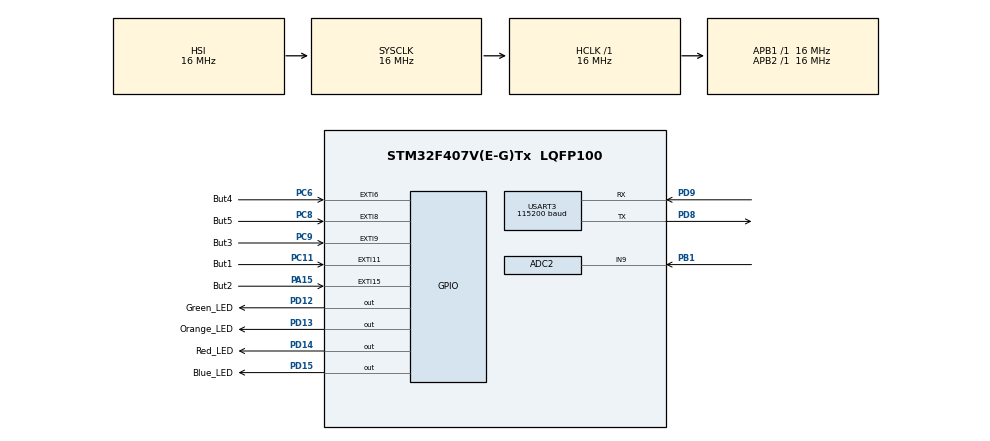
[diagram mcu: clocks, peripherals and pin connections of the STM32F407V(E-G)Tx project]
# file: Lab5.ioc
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ADC2.Channel-0\#ChannelRegularConversion=ADC_CHANNEL_9
ADC2.ContinuousConvMode=ENABLE
ADC2.EOCSelection=ADC_EOC_SEQ_CONV
ADC2.NbrOfConversionFlag=1
ADC2.Rank-0\#ChannelRegularConversion=1
ADC2.SamplingTime-0\#ChannelRegularConversion=ADC_SAMPLETIME_480CYCLES
Mcu.Family=STM32F4
Mcu.Name=STM32F407V(E-G)Tx
Mcu.Package=LQFP100
NVIC.EXTI15_10_IRQn=true\:0\:0\:false\:false\:true\:true\:true
NVIC.EXTI9_5_IRQn=true\:0\:0\:false\:false\:true\:true\:true
NVIC.PriorityGroup=NVIC_PRIORITYGROUP_4
NVIC.TIM4_IRQn=true\:0\:0\:false\:false\:true\:true\:true
PA15.GPIO_Label=But2
PA15.Signal=GPXTI15
PB1.Signal=ADCx_IN9
PC11.GPIO_Label=But1
PC11.Signal=GPXTI11
PC6.GPIO_Label=But4
PC6.Signal=GPXTI6
PC8.GPIO_Label=But5
PC8.Signal=GPXTI8
PC9.GPIO_Label=But3
PC9.Signal=GPXTI9
PD12.GPIO_Label=Green_LED
PD12.Signal=GPIO_Output
PD13.GPIO_Label=Orange_LED
PD13.Signal=GPIO_Output
PD14.GPIO_Label=Red_LED
PD14.Signal=GPIO_Output
PD15.GPIO_Label=Blue_LED
PD15.Signal=GPIO_Output
PD8.Mode=Asynchronous
PD8.Signal=USART3_TX
PD9.Mode=Asynchronous
PD9.Signal=USART3_RX
ProjectManager.HeapSize=0x200
ProjectManager.StackSize=0x400
ProjectManager.TargetToolchain=STM32CubeIDE
RCC.AHBFreq_Value=16000000
RCC.APB1Freq_Value=16000000
RCC.APB2Freq_Value=16000000
RCC.CortexFreq_Value=16000000
RCC.HSE_VALUE=25000000
RCC.HSI_VALUE=16000000
RCC.LSE_VALUE=32768
RCC.SYSCLKFreq_VALUE=16000000
RCC.VCOOutputFreq_Value=192000000
SH.ADCx_IN9.0=ADC2_IN9,IN9
TIM4.AutoReloadPreload=TIM_AUTORELOAD_PRELOAD_ENABLE
TIM4.Period=4999
TIM4.Prescaler=15999
USART3.BaudRate=115200
USART3.VirtualMode=VM_ASYNC
VP_TIM4_VS_ClockSourceINT.Mode=Internal
board=custom

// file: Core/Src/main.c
/* USER CODE BEGIN Header */
/**
  ******************************************************************************
  * @file           : main.c
  * @brief          : Main program body
  ******************************************************************************
  * @attention
  *
  * <h2><center>&copy; Copyright (c) 2021 STMicroelectronics.
  * All rights reserved.</center></h2>
  *
  * This software component is licensed by ST under BSD 3-Clause license,
  * the "License"; You may not use this file except in compliance with the
  * License. You may obtain a copy of the License at:
  *                        opensource.org/licenses/BSD-3-Clause
  *
  ******************************************************************************
  */
/* USER CODE END Header */
#include "main.h"

/* USER CODE BEGIN Includes */

#include <stdio.h>               //needed library for sprintf
#include <string.h>             //needed library for strlen

/* USER CODE END Includes */

ADC_HandleTypeDef hadc2;
TIM_HandleTypeDef htim4;
UART_HandleTypeDef huart3;

/* USER CODE BEGIN PV */

float tCelsius_ext;
uint16_t external_temp_value;         //adc value from external temp sensor

/* USER CODE END PV */

void SystemClock_Config(void);
static void MX_GPIO_Init(void);
static void MX_USART3_UART_Init(void);
static void MX_ADC2_Init(void);
static void MX_TIM4_Init(void);

/* USER CODE BEGIN 0 */

//HAL_StatusTypeDef HAL_UART_Transmit(UART_HandleTypeDef *huart, uint8_t *pData, uint16_t Size, uint32_t Timeout)
//HAL_UART_Transmit(&huart3, (uint8_t *)"Orange ON\r\n", 9+2,10); - example

void customUART(GPIO_TypeDef *GPIOx, uint16_t GPIO_Pin, UART_HandleTypeDef *huart, uint8_t *pData_led_on, uint8_t *pData_led_off)
{
	HAL_GPIO_TogglePin(GPIOx, GPIO_Pin);
	if (HAL_GPIO_ReadPin(GPIOx, GPIO_Pin) == GPIO_PIN_SET)
		HAL_UART_Transmit(huart, (uint8_t*) pData_led_on, strlen((char*) pData_led_on), 10);
	else
		HAL_UART_Transmit(huart, (uint8_t*) pData_led_off, strlen((char*) pData_led_off), 10);
}

void HAL_GPIO_EXTI_Callback(uint16_t GPIO_PIN){

	  switch(GPIO_PIN){

		  case But1_Pin:
			  customUART(GPIOD,Blue_LED_Pin, &huart3, (uint8_t*) "Blue ON\r\n", (uint8_t*) "Blue OFF\r\n");
			  break;

		  case But2_Pin:
			  customUART(GPIOD,Orange_LED_Pin, &huart3, (uint8_t*) "Orange ON\r\n", (uint8_t*) "Orange OFF\r\n");
			  break;

		  case But3_Pin:
			  customUART(GPIOD,Red_LED_Pin, &huart3, (uint8_t*) "Red ON\r\n", (uint8_t*) "Red OFF\r\n");
			  break;

		  case But4_Pin:
			  customUART(GPIOD,Green_LED_Pin, &huart3, (uint8_t*) "Green ON\r\n", (uint8_t*) "Green OFF\r\n");
			  break;

		  default:
			  HAL_UART_Transmit(&huart3, (uint8_t *)"Unexpected_command\r\n", strlen("Unexpected_command\r\n"),10);
			  break;
	  }
}

void tCelsius_ext_calc(uint16_t external_temp_value){
	tCelsius_ext = (3/4095.0 * external_temp_value *-50) +100.0;   //convert value to temperature in the range from -24 to 100°C.
}

/* USER CODE END 0 */

int main(void)
{

  /* MCU Configuration--------------------------------------------------------*/

  /* Reset of all peripherals, Initializes the Flash interface and the Systick. */
  HAL_Init();

  /* Configure the system clock */
  SystemClock_Config();

  /* Initialize all configured peripherals */
  MX_GPIO_Init();
  MX_USART3_UART_Init();
  MX_ADC2_Init();
  MX_TIM4_Init();
  /* USER CODE BEGIN 2 */

  HAL_TIM_Base_Start_IT(&htim4);     //TIM4 is used to get temperature value once in 5 seconds through TIM4_IRQHandler()
  HAL_ADC_Start(&hadc2);            //ADC for external temperature

  volatile HAL_StatusTypeDef adcPoolResultext;

  /* USER CODE END 2 */

  /* Infinite loop */
  /* USER CODE BEGIN WHILE */

  while (1)
  {

	  uint8_t rcvBuf;
	  HAL_StatusTypeDef result;

	  result = HAL_UART_Receive(&huart3, &rcvBuf, 1, 10);

	  if (result == HAL_OK){

		  switch(rcvBuf){

			  case '1':
				  customUART(GPIOD,Blue_LED_Pin, &huart3, (uint8_t*) "Blue ON\r\n", (uint8_t*) "Blue OFF\r\n");
				  break;

			  case '2':
				  customUART(GPIOD,Orange_LED_Pin, &huart3, (uint8_t*) "Orange ON\r\n", (uint8_t*) "Orange OFF\r\n");
				  break;

			  case '3':
				  customUART(GPIOD,Red_LED_Pin, &huart3, (uint8_t*) "Red ON\r\n", (uint8_t*) "Red OFF\r\n");
				  break;

			  case '4':
				  customUART(GPIOD,Green_LED_Pin, &huart3, (uint8_t*) "Green ON\r\n", (uint8_t*) "Green OFF\r\n");
				  break;

			  default:
				  HAL_UART_Transmit(&huart3, (uint8_t *)"Unexpected_command\r\n", strlen("Unexpected_command\r\n"),10);
				  break;
		  }
	  }

	  //--------------------ADC for external temperature------------------

	  adcPoolResultext = HAL_ADC_PollForConversion(&hadc2, 1);

	  if(adcPoolResultext == HAL_OK){
		  external_temp_value = HAL_ADC_GetValue(&hadc2);
	  }
	  else{
		  Error_Handler();
	  }

    /* USER CODE END WHILE */

  }
}

void SystemClock_Config(void)
{
  RCC_OscInitTypeDef RCC_OscInitStruct = {0};
  RCC_ClkInitTypeDef RCC_ClkInitStruct = {0};

  /** Configure the main internal regulator output voltage
  */
  __HAL_RCC_PWR_CLK_ENABLE();
  __HAL_PWR_VOLTAGESCALING_CONFIG(PWR_REGULATOR_VOLTAGE_SCALE1);
  /** Initializes the RCC Oscillators according to the specified parameters
  * in the RCC_OscInitTypeDef structure.
  */
  RCC_OscInitStruct.OscillatorType = RCC_OSCILLATORTYPE_HSI;
  RCC_OscInitStruct.HSIState = RCC_HSI_ON;
  RCC_OscInitStruct.HSICalibrationValue = RCC_HSICALIBRATION_DEFAULT;
  RCC_OscInitStruct.PLL.PLLState = RCC_PLL_NONE;
  if (HAL_RCC_OscConfig(&RCC_OscInitStruct) != HAL_OK)
  {
    Error_Handler();
  }
  /** Initializes the CPU, AHB and APB buses clocks
  */
  RCC_ClkInitStruct.ClockType = RCC_CLOCKTYPE_HCLK|RCC_CLOCKTYPE_SYSCLK
                              |RCC_CLOCKTYPE_PCLK1|RCC_CLOCKTYPE_PCLK2;
  RCC_ClkInitStruct.SYSCLKSource = RCC_SYSCLKSOURCE_HSI;
  RCC_ClkInitStruct.AHBCLKDivider = RCC_SYSCLK_DIV1;
  RCC_ClkInitStruct.APB1CLKDivider = RCC_HCLK_DIV1;
  RCC_ClkInitStruct.APB2CLKDivider = RCC_HCLK_DIV1;

  if (HAL_RCC_ClockConfig(&RCC_ClkInitStruct, FLASH_LATENCY_0) != HAL_OK)
  {
    Error_Handler();
  }
}

static void MX_ADC2_Init(void)
{

  ADC_ChannelConfTypeDef sConfig = {0};

  /** Configure the global features of the ADC (Clock, Resolution, Data Alignment and number of conversion)
  */
  hadc2.Instance = ADC2;
  hadc2.Init.ClockPrescaler = ADC_CLOCK_SYNC_PCLK_DIV2;
  hadc2.Init.Resolution = ADC_RESOLUTION_12B;
  hadc2.Init.ScanConvMode = DISABLE;
  hadc2.Init.ContinuousConvMode = ENABLE;
  hadc2.Init.DiscontinuousConvMode = DISABLE;
  hadc2.Init.ExternalTrigConvEdge = ADC_EXTERNALTRIGCONVEDGE_NONE;
  hadc2.Init.ExternalTrigConv = ADC_SOFTWARE_START;
  hadc2.Init.DataAlign = ADC_DATAALIGN_RIGHT;
  hadc2.Init.NbrOfConversion = 1;
  hadc2.Init.DMAContinuousRequests = DISABLE;
  hadc2.Init.EOCSelection = ADC_EOC_SEQ_CONV;
  if (HAL_ADC_Init(&hadc2) != HAL_OK)
  {
    Error_Handler();
  }
  /** Configure for the selected ADC regular channel its corresponding rank in the sequencer and its sample time.
  */
  sConfig.Channel = ADC_CHANNEL_9;
  sConfig.Rank = 1;
  sConfig.SamplingTime = ADC_SAMPLETIME_480CYCLES;
  if (HAL_ADC_ConfigChannel(&hadc2, &sConfig) != HAL_OK)
  {
    Error_Handler();
  }

}

static void MX_TIM4_Init(void)
{

  TIM_ClockConfigTypeDef sClockSourceConfig = {0};
  TIM_MasterConfigTypeDef sMasterConfig = {0};

  htim4.Instance = TIM4;
  htim4.Init.Prescaler = 15999;
  htim4.Init.CounterMode = TIM_COUNTERMODE_UP;
  htim4.Init.Period = 4999;
  htim4.Init.ClockDivision = TIM_CLOCKDIVISION_DIV1;
  htim4.Init.AutoReloadPreload = TIM_AUTORELOAD_PRELOAD_ENABLE;
  if (HAL_TIM_Base_Init(&htim4) != HAL_OK)
  {
    Error_Handler();
  }
  sClockSourceConfig.ClockSource = TIM_CLOCKSOURCE_INTERNAL;
  if (HAL_TIM_ConfigClockSource(&htim4, &sClockSourceConfig) != HAL_OK)
  {
    Error_Handler();
  }
  sMasterConfig.MasterOutputTrigger = TIM_TRGO_RESET;
  sMasterConfig.MasterSlaveMode = TIM_MASTERSLAVEMODE_DISABLE;
  if (HAL_TIMEx_MasterConfigSynchronization(&htim4, &sMasterConfig) != HAL_OK)
  {
    Error_Handler();
  }

}

static void MX_USART3_UART_Init(void)
{

  huart3.Instance = USART3;
  huart3.Init.BaudRate = 115200;
  huart3.Init.WordLength = UART_WORDLENGTH_8B;
  huart3.Init.StopBits = UART_STOPBITS_1;
  huart3.Init.Parity = UART_PARITY_NONE;
  huart3.Init.Mode = UART_MODE_TX_RX;
  huart3.Init.HwFlowCtl = UART_HWCONTROL_NONE;
  huart3.Init.OverSampling = UART_OVERSAMPLING_16;
  if (HAL_UART_Init(&huart3) != HAL_OK)
  {
    Error_Handler();
  }

}

static void MX_GPIO_Init(void)
{
  GPIO_InitTypeDef GPIO_InitStruct = {0};

  /* GPIO Ports Clock Enable */
  __HAL_RCC_GPIOB_CLK_ENABLE();
  __HAL_RCC_GPIOD_CLK_ENABLE();
  __HAL_RCC_GPIOC_CLK_ENABLE();
  __HAL_RCC_GPIOA_CLK_ENABLE();

  /*Configure GPIO pin Output Level */
  HAL_GPIO_WritePin(GPIOD, Green_LED_Pin|Orange_LED_Pin|Red_LED_Pin|Blue_LED_Pin, GPIO_PIN_RESET);

  /*Configure GPIO pins : Green_LED_Pin Orange_LED_Pin Red_LED_Pin Blue_LED_Pin */
  GPIO_InitStruct.Pin = Green_LED_Pin|Orange_LED_Pin|Red_LED_Pin|Blue_LED_Pin;
  GPIO_InitStruct.Mode = GPIO_MODE_OUTPUT_PP;
  GPIO_InitStruct.Pull = GPIO_NOPULL;
  GPIO_InitStruct.Speed = GPIO_SPEED_FREQ_LOW;
  HAL_GPIO_Init(GPIOD, &GPIO_InitStruct);

  /*Configure GPIO pins : But4_Pin But5_Pin But3_Pin But1_Pin */
  GPIO_InitStruct.Pin = But4_Pin|But5_Pin|But3_Pin|But1_Pin;
  GPIO_InitStruct.Mode = GPIO_MODE_IT_RISING;
  GPIO_InitStruct.Pull = GPIO_NOPULL;
  HAL_GPIO_Init(GPIOC, &GPIO_InitStruct);

  /*Configure GPIO pin : But2_Pin */
  GPIO_InitStruct.Pin = But2_Pin;
  GPIO_InitStruct.Mode = GPIO_MODE_IT_RISING;
  GPIO_InitStruct.Pull = GPIO_NOPULL;
  HAL_GPIO_Init(But2_GPIO_Port, &GPIO_InitStruct);

  /* EXTI interrupt init*/
  HAL_NVIC_SetPriority(EXTI9_5_IRQn, 0, 0);
  HAL_NVIC_EnableIRQ(EXTI9_5_IRQn);

  HAL_NVIC_SetPriority(EXTI15_10_IRQn, 0, 0);
  HAL_NVIC_EnableIRQ(EXTI15_10_IRQn);

}

void Error_Handler(void)
{
  __disable_irq();
  while (1)
  {
  }
}

/************************ (C) COPYRIGHT STMicroelectronics *****END OF FILE****/
